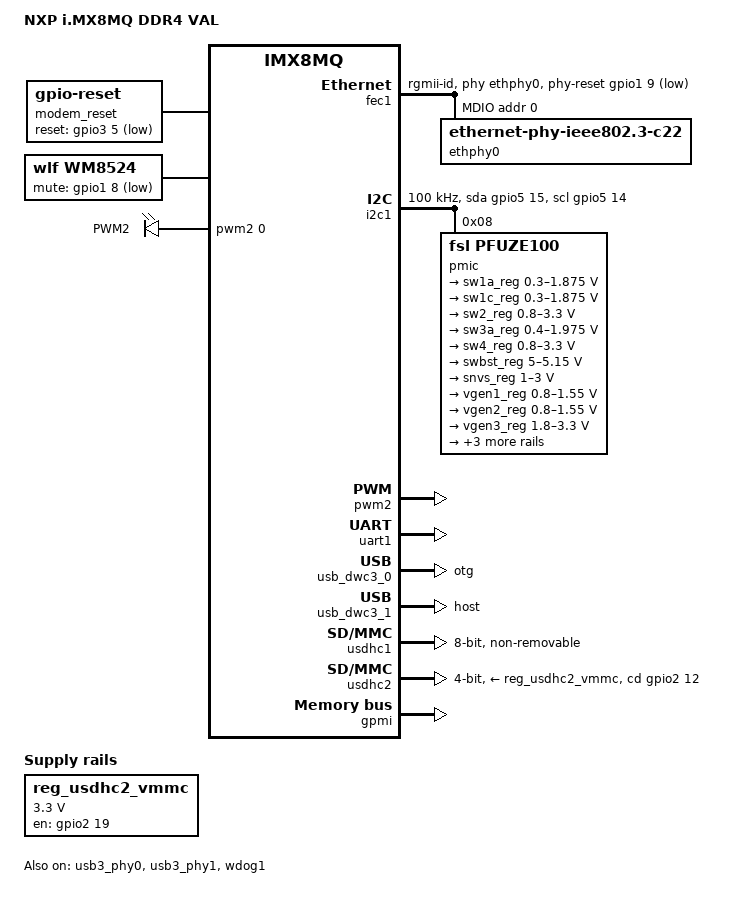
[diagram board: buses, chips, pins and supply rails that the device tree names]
// SPDX-License-Identifier: GPL-2.0+
/*
 * Copyright 2017-2019 NXP
 */

/dts-v1/;

#include "imx8mq.dtsi"

/ {
	model = "NXP i.MX8MQ DDR4 VAL";
	compatible = "fsl,imx8mq-evk", "fsl,imx8mq";

	chosen {
		bootargs = "console=ttymxc0,115200 earlycon=ec_imx6q,0x30860000,115200";
		stdout-path = &uart1;
	};

	regulators {
		compatible = "simple-bus";
		#address-cells = <1>;
		#size-cells = <0>;

		reg_usdhc2_vmmc: usdhc2_vmmc {
			compatible = "regulator-fixed";
			regulator-name = "VSD_3V3";
			regulator-min-microvolt = <3300000>;
			regulator-max-microvolt = <3300000>;
			gpio = <&gpio2 19 GPIO_ACTIVE_HIGH>;
			off-on-delay-us = <20000>;
			enable-active-high;
		};
	};

	modem_reset: modem-reset {
		compatible = "gpio-reset";
		reset-gpios = <&gpio3 5 GPIO_ACTIVE_LOW>;
		reset-delay-us = <2000>;
		reset-post-delay-ms = <40>;
		#reset-cells = <0>;
	};

	wm8524: audio-codec {
		#sound-dai-cells = <0>;
		compatible = "wlf,wm8524";
		wlf,mute-gpios = <&gpio1 8 GPIO_ACTIVE_LOW>;
	};

	pwmleds {
		compatible = "pwm-leds";

		ledpwm2 {
			label = "PWM2";
			pwms = <&pwm2 0 50000>;
			max-brightness = <255>;
		};
	};
};

&iomuxc {
	pinctrl-names = "default";

	imx8mq-val {
		pinctrl_fec1: fec1grp {
			fsl,pins = <
				MX8MQ_IOMUXC_ENET_MDC_ENET1_MDC		0x3
				MX8MQ_IOMUXC_ENET_MDIO_ENET1_MDIO	0x23
				MX8MQ_IOMUXC_ENET_TD3_ENET1_RGMII_TD3	0x1f
				MX8MQ_IOMUXC_ENET_TD2_ENET1_RGMII_TD2	0x1f
				MX8MQ_IOMUXC_ENET_TD1_ENET1_RGMII_TD1	0x1f
				MX8MQ_IOMUXC_ENET_TD0_ENET1_RGMII_TD0	0x1f
				MX8MQ_IOMUXC_ENET_RD3_ENET1_RGMII_RD3	0x91
				MX8MQ_IOMUXC_ENET_RD2_ENET1_RGMII_RD2	0x91
				MX8MQ_IOMUXC_ENET_RD1_ENET1_RGMII_RD1	0x91
				MX8MQ_IOMUXC_ENET_RD0_ENET1_RGMII_RD0	0x91
				MX8MQ_IOMUXC_ENET_TXC_ENET1_RGMII_TXC	0x1f
				MX8MQ_IOMUXC_ENET_RXC_ENET1_RGMII_RXC	0x91
				MX8MQ_IOMUXC_ENET_RX_CTL_ENET1_RGMII_RX_CTL	0x91
				MX8MQ_IOMUXC_ENET_TX_CTL_ENET1_RGMII_TX_CTL	0x1f
				MX8MQ_IOMUXC_GPIO1_IO09_GPIO1_IO9	0x19
			>;
		};

		pinctrl_i2c1: i2c1grp {
			fsl,pins = <
				MX8MQ_IOMUXC_I2C1_SCL_I2C1_SCL			0x4000007f
				MX8MQ_IOMUXC_I2C1_SDA_I2C1_SDA			0x4000007f
			>;
		};

		pinctrl_i2c2: i2c2grp {
			fsl,pins = <
				MX8MQ_IOMUXC_I2C2_SCL_I2C2_SCL			0x4000007f
				MX8MQ_IOMUXC_I2C2_SDA_I2C2_SDA			0x4000007f
			>;
		};

		pinctrl_i2c1_gpio: i2c1grp-gpio {
			fsl,pins = <
				MX8MQ_IOMUXC_I2C1_SCL_GPIO5_IO14        		0x7f
				MX8MQ_IOMUXC_I2C1_SDA_GPIO5_IO15        		0x7f
			>;
		};

		pinctrl_i2c2_gpio: i2c2grp-gpio {
			fsl,pins = <
				MX8MQ_IOMUXC_I2C2_SCL_GPIO5_IO16        		0x7f
				MX8MQ_IOMUXC_I2C2_SDA_GPIO5_IO17        		0x7f
			>;
		};

		pinctrl_pwm2: pwm2grp {
			fsl,pins = <
				MX8MQ_IOMUXC_GPIO1_IO13_PWM2_OUT	0x16
			>;
		};

		pinctrl_uart1: uart1grp {
			fsl,pins = <
				MX8MQ_IOMUXC_UART1_RXD_UART1_DCE_RX		0x79
				MX8MQ_IOMUXC_UART1_TXD_UART1_DCE_TX		0x79
			>;
		};

		pinctrl_usdhc1: usdhc1grp {
			fsl,pins = <
				MX8MQ_IOMUXC_SD1_CLK_USDHC1_CLK			0x83
				MX8MQ_IOMUXC_SD1_CMD_USDHC1_CMD			0xc3
				MX8MQ_IOMUXC_SD1_DATA0_USDHC1_DATA0		0xc3
				MX8MQ_IOMUXC_SD1_DATA1_USDHC1_DATA1		0xc3
				MX8MQ_IOMUXC_SD1_DATA2_USDHC1_DATA2		0xc3
				MX8MQ_IOMUXC_SD1_DATA3_USDHC1_DATA3		0xc3
				MX8MQ_IOMUXC_SD1_DATA4_USDHC1_DATA4		0xc3
				MX8MQ_IOMUXC_SD1_DATA5_USDHC1_DATA5		0xc3
				MX8MQ_IOMUXC_SD1_DATA6_USDHC1_DATA6		0xc3
				MX8MQ_IOMUXC_SD1_DATA7_USDHC1_DATA7		0xc3
				MX8MQ_IOMUXC_SD1_STROBE_USDHC1_STROBE 		0x83
				MX8MQ_IOMUXC_SD1_RESET_B_USDHC1_RESET_B		0xc1
			>;
		};

		pinctrl_usdhc1_100mhz: usdhc1grp100mhz {
			fsl,pins = <
				MX8MQ_IOMUXC_SD1_CLK_USDHC1_CLK			0x85
				MX8MQ_IOMUXC_SD1_CMD_USDHC1_CMD			0xc5
				MX8MQ_IOMUXC_SD1_DATA0_USDHC1_DATA0		0xc5
				MX8MQ_IOMUXC_SD1_DATA1_USDHC1_DATA1		0xc5
				MX8MQ_IOMUXC_SD1_DATA2_USDHC1_DATA2		0xc5
				MX8MQ_IOMUXC_SD1_DATA3_USDHC1_DATA3		0xc5
				MX8MQ_IOMUXC_SD1_DATA4_USDHC1_DATA4		0xc5
				MX8MQ_IOMUXC_SD1_DATA5_USDHC1_DATA5		0xc5
				MX8MQ_IOMUXC_SD1_DATA6_USDHC1_DATA6		0xc5
				MX8MQ_IOMUXC_SD1_DATA7_USDHC1_DATA7		0xc5
				MX8MQ_IOMUXC_SD1_STROBE_USDHC1_STROBE 		0x85
				MX8MQ_IOMUXC_SD1_RESET_B_USDHC1_RESET_B		0xc1
			>;
		};

		pinctrl_usdhc1_200mhz: usdhc1grp200mhz {
			fsl,pins = <
				MX8MQ_IOMUXC_SD1_CLK_USDHC1_CLK			0x87
				MX8MQ_IOMUXC_SD1_CMD_USDHC1_CMD			0xc7
				MX8MQ_IOMUXC_SD1_DATA0_USDHC1_DATA0		0xc7
				MX8MQ_IOMUXC_SD1_DATA1_USDHC1_DATA1		0xc7
				MX8MQ_IOMUXC_SD1_DATA2_USDHC1_DATA2		0xc7
				MX8MQ_IOMUXC_SD1_DATA3_USDHC1_DATA3		0xc7
				MX8MQ_IOMUXC_SD1_DATA4_USDHC1_DATA4		0xc7
				MX8MQ_IOMUXC_SD1_DATA5_USDHC1_DATA5		0xc7
				MX8MQ_IOMUXC_SD1_DATA6_USDHC1_DATA6		0xc7
				MX8MQ_IOMUXC_SD1_DATA7_USDHC1_DATA7		0xc7
				MX8MQ_IOMUXC_SD1_STROBE_USDHC1_STROBE 		0x87
				MX8MQ_IOMUXC_SD1_RESET_B_USDHC1_RESET_B		0xc1
			>;
		};

		pinctrl_usdhc2_gpio: usdhc2grpgpio {
			fsl,pins = <
				MX8MQ_IOMUXC_SD2_CD_B_GPIO2_IO12	0x41
				MX8MQ_IOMUXC_SD2_RESET_B_GPIO2_IO19	0x41
			>;
		};

		pinctrl_usdhc2: usdhc2grp {
			fsl,pins = <
				MX8MQ_IOMUXC_SD2_CLK_USDHC2_CLK			0x83
				MX8MQ_IOMUXC_SD2_CMD_USDHC2_CMD			0xc3
				MX8MQ_IOMUXC_SD2_DATA0_USDHC2_DATA0		0xc3
				MX8MQ_IOMUXC_SD2_DATA1_USDHC2_DATA1		0xc3
				MX8MQ_IOMUXC_SD2_DATA2_USDHC2_DATA2		0xc3
				MX8MQ_IOMUXC_SD2_DATA3_USDHC2_DATA3		0xc3
				MX8MQ_IOMUXC_GPIO1_IO04_USDHC2_VSELECT		0xc1
			>;
		};

		pinctrl_usdhc2_100mhz: usdhc2grp100mhz {
			fsl,pins = <
				MX8MQ_IOMUXC_SD2_CLK_USDHC2_CLK			0x85
				MX8MQ_IOMUXC_SD2_CMD_USDHC2_CMD			0xc5
				MX8MQ_IOMUXC_SD2_DATA0_USDHC2_DATA0		0xc5
				MX8MQ_IOMUXC_SD2_DATA1_USDHC2_DATA1		0xc5
				MX8MQ_IOMUXC_SD2_DATA2_USDHC2_DATA2		0xc5
				MX8MQ_IOMUXC_SD2_DATA3_USDHC2_DATA3		0xc5
				MX8MQ_IOMUXC_GPIO1_IO04_USDHC2_VSELECT		0xc1
			>;
		};

		pinctrl_usdhc2_200mhz: usdhc2grp200mhz {
			fsl,pins = <
				MX8MQ_IOMUXC_SD2_CLK_USDHC2_CLK			0x87
				MX8MQ_IOMUXC_SD2_CMD_USDHC2_CMD			0xc7
				MX8MQ_IOMUXC_SD2_DATA0_USDHC2_DATA0		0xc7
				MX8MQ_IOMUXC_SD2_DATA1_USDHC2_DATA1		0xc7
				MX8MQ_IOMUXC_SD2_DATA2_USDHC2_DATA2		0xc7
				MX8MQ_IOMUXC_SD2_DATA3_USDHC2_DATA3		0xc7
				MX8MQ_IOMUXC_GPIO1_IO04_USDHC2_VSELECT		0xc1
			>;
		};

		pinctrl_wdog: wdoggrp {
			fsl,pins = <
				MX8MQ_IOMUXC_GPIO1_IO02_WDOG1_WDOG_B 0xc6
			>;
		};

		pinctrl_gpmi_nand_1: gpmi-nand-1 {
			fsl,pins = <
				MX8MQ_IOMUXC_NAND_ALE_RAWNAND_ALE		0x00000096
				MX8MQ_IOMUXC_NAND_CE0_B_RAWNAND_CE0_B		0x00000096
				MX8MQ_IOMUXC_NAND_CLE_RAWNAND_CLE		0x00000096
				MX8MQ_IOMUXC_NAND_DATA00_RAWNAND_DATA00		0x00000096
				MX8MQ_IOMUXC_NAND_DATA01_RAWNAND_DATA01		0x00000096
				MX8MQ_IOMUXC_NAND_DATA02_RAWNAND_DATA02		0x00000096
				MX8MQ_IOMUXC_NAND_DATA03_RAWNAND_DATA03		0x00000096
				MX8MQ_IOMUXC_NAND_DATA04_RAWNAND_DATA04		0x00000096
				MX8MQ_IOMUXC_NAND_DATA05_RAWNAND_DATA05		0x00000096
				MX8MQ_IOMUXC_NAND_DATA06_RAWNAND_DATA06		0x00000096
				MX8MQ_IOMUXC_NAND_DATA07_RAWNAND_DATA07		0x00000096
				MX8MQ_IOMUXC_NAND_RE_B_RAWNAND_RE_B		0x00000096
				MX8MQ_IOMUXC_NAND_READY_B_RAWNAND_READY_B	0x00000056
				MX8MQ_IOMUXC_NAND_WE_B_RAWNAND_WE_B		0x00000096
				MX8MQ_IOMUXC_NAND_WP_B_RAWNAND_WP_B		0x00000096
			>;
		};
	};
};

&fec1 {
	pinctrl-names = "default";
	pinctrl-0 = <&pinctrl_fec1>;
	phy-mode = "rgmii-id";
	phy-handle = <&ethphy0>;
	phy-reset-gpios = <&gpio1 9 GPIO_ACTIVE_LOW>;
	phy-reset-duration = <10>;
	fsl,magic-packet;
	status = "okay";

	mdio {
		#address-cells = <1>;
		#size-cells = <0>;

		ethphy0: ethernet-phy@0 {
			compatible = "ethernet-phy-ieee802.3-c22";
			reg = <0>;
			at803x,led-act-blind-workaround;
			at803x,eee-disabled;
		};
	};
};

&i2c1 {
	clock-frequency = <100000>;
	pinctrl-names = "default", "gpio";
	pinctrl-0 = <&pinctrl_i2c1>;
	pinctrl-1 = <&pinctrl_i2c1_gpio>;
	scl-gpios = <&gpio5 14 GPIO_ACTIVE_HIGH>;
	sda-gpios = <&gpio5 15 GPIO_ACTIVE_HIGH>;
	status = "okay";

	pmic: pfuze100@8 {
		compatible = "fsl,pfuze100";
		reg = <0x8>;

		regulators {
			sw1a_reg: sw1ab {
				regulator-min-microvolt = <300000>;
				regulator-max-microvolt = <1875000>;
				regulator-always-on;
			};

			sw1c_reg: sw1c {
				regulator-min-microvolt = <300000>;
				regulator-max-microvolt = <1875000>;
				regulator-always-on;
			};

			sw2_reg: sw2 {
				regulator-min-microvolt = <800000>;
				regulator-max-microvolt = <3300000>;
				regulator-always-on;
			};

			sw3a_reg: sw3ab {
				regulator-min-microvolt = <400000>;
				regulator-max-microvolt = <1975000>;
				regulator-always-on;
			};

			sw4_reg: sw4 {
				regulator-min-microvolt = <800000>;
				regulator-max-microvolt = <3300000>;
				regulator-always-on;
			};

			swbst_reg: swbst {
				regulator-min-microvolt = <5000000>;
				regulator-max-microvolt = <5150000>;
			};

			snvs_reg: vsnvs {
				regulator-min-microvolt = <1000000>;
				regulator-max-microvolt = <3000000>;
				regulator-always-on;
			};

			vref_reg: vrefddr {
				regulator-always-on;
			};

			vgen1_reg: vgen1 {
				regulator-min-microvolt = <800000>;
				regulator-max-microvolt = <1550000>;
			};

			vgen2_reg: vgen2 {
				regulator-min-microvolt = <800000>;
				regulator-max-microvolt = <1550000>;
				regulator-always-on;
			};

			vgen3_reg: vgen3 {
				regulator-min-microvolt = <1800000>;
				regulator-max-microvolt = <3300000>;
				regulator-always-on;
			};

			vgen4_reg: vgen4 {
				regulator-min-microvolt = <1800000>;
				regulator-max-microvolt = <3300000>;
				regulator-always-on;
			};

			vgen5_reg: vgen5 {
				regulator-min-microvolt = <1800000>;
				regulator-max-microvolt = <3300000>;
				regulator-always-on;
			};

			vgen6_reg: vgen6 {
				regulator-min-microvolt = <1800000>;
				regulator-max-microvolt = <3300000>;
			};
		};
	};
};

&i2c2 {
	clock-frequency = <100000>;
	pinctrl-names = "default", "gpio";
	pinctrl-0 = <&pinctrl_i2c2>;
	pinctrl-1 = <&pinctrl_i2c2_gpio>;
	scl-gpios = <&gpio5 16 GPIO_ACTIVE_HIGH>;
	sda-gpios = <&gpio5 17 GPIO_ACTIVE_HIGH>;
	status = "disabled";
};

&pwm2 {
	pinctrl-names = "default";
	pinctrl-0 = <&pinctrl_pwm2>;
	status = "okay";
};

&uart1 { /* console */
	pinctrl-names = "default";
	pinctrl-0 = <&pinctrl_uart1>;
	assigned-clocks = <&clk IMX8MQ_CLK_UART1>;
	assigned-clock-parents = <&clk IMX8MQ_CLK_25M>;
	status = "okay";
};

&usb3_phy0 {
	status = "okay";
};

&usb_dwc3_0 {
	dr_mode = "otg";
	hnp-disable;
	srp-disable;
	adp-disable;
	usb-role-switch;
	snps,dis-u1-entry-quirk;
	snps,dis-u2-entry-quirk;
	status = "okay";
};

&usb3_phy1 {
	status = "okay";
};

&usb_dwc3_1 {
	dr_mode = "host";
	status = "okay";
};

&usdhc1 {
	pinctrl-names = "default", "state_100mhz", "state_200mhz";
	pinctrl-0 = <&pinctrl_usdhc1>;
	pinctrl-1 = <&pinctrl_usdhc1_100mhz>;
	pinctrl-2 = <&pinctrl_usdhc1_200mhz>;
	bus-width = <8>;
	non-removable;
	status = "okay";
};

&usdhc2 {
	pinctrl-names = "default", "state_100mhz", "state_200mhz";
	pinctrl-0 = <&pinctrl_usdhc2>, <&pinctrl_usdhc2_gpio>;
	pinctrl-1 = <&pinctrl_usdhc2_100mhz>, <&pinctrl_usdhc2_gpio>;
	pinctrl-2 = <&pinctrl_usdhc2_200mhz>, <&pinctrl_usdhc2_gpio>;
	bus-width = <4>;
	cd-gpios = <&gpio2 12 GPIO_ACTIVE_HIGH>;
	vmmc-supply = <&reg_usdhc2_vmmc>;
	status = "okay";
};

&wdog1 {
	pinctrl-names = "default";
	pinctrl-0 = <&pinctrl_wdog>;
	fsl,ext-reset-output;
	status = "okay";
};

&gpmi {
	pinctrl-names = "default";
	pinctrl-0 = <&pinctrl_gpmi_nand_1>;
	status = "okay";
	nand-on-flash-bbt;
};
